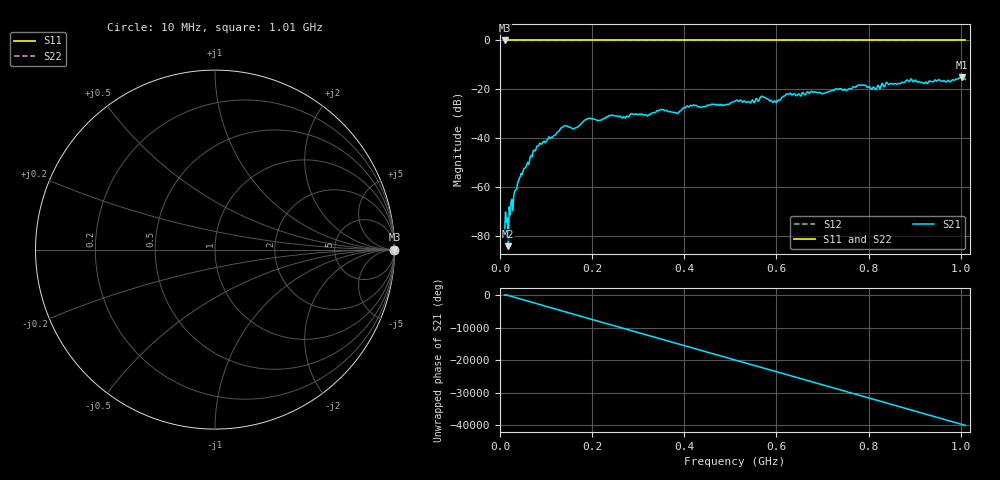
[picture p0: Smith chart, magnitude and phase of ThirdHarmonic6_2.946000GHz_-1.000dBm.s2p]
! 8/17/2025 8:16:19 AM
! C:\ANRITSUVNA\TEMP\TEMP.S2P
! CHANNEL.1
! TR.MEASUREMENT
! RAW.DATA
! RF.CORRECTION.OFF
! AVERAGING.OFF
! IF.BANDWIDTH: 5KHZ
! SWEEPTYPE:  FREQ.SWEEP(Linear)
! Reference Plane Port Info
! PORT:  PORT1  PORT2
! DISTANCE:  0  m  0  m
! TIME:  0  s  0  s
! PHASE.OFFSET:  0  deg.  0  deg.
! LOSS:  0  dB  0  dB
! REF.LOSS:  0  dB  0  dB
! REF.FREQ:  0  Hz  0  Hz
! Power Info
! POWER:  -20  dBm  -20  dBm
! EFF.POWER:  -20  dBm  -20  dBm
! SOURCE.ATTEN:  0  dB  0  dB
! TEST.ATTEN:  0  dB  0  dB
# GHZ S RI R 50.0
! FREQ.GHZ  S11RE  S11IM  S21RE  S21IM  S12RE  S12IM  S22RE  S22IM
!; PortSelection: Port_12
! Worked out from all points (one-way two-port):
!   501 points, 10 MHz to 1.01 GHz, reference 50 ohm
!   highest |S21| = -15.09 dB at 1.002 GHz (marker M1); lowest = -84.3 dB at 18 MHz (marker M2)
!   lowest |S11| = 0.0 dB at 10 MHz (marker M3)
!   |S11| at or under -10 dB: nowhere
!   |S22| runs from 0.0 to 0.0 dB; largest |S21 - S12| = 1.2
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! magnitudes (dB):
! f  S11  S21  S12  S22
! 10 MHz  0.0  -79.1  0.0  0.0
! 18 MHz  0.0  -84.3  0.0  0.0
! 42 MHz  0.0  -56.5  0.0  0.0
! 76 MHz  0.0  -45.4  0.0  0.0
! 136 MHz  0.0  -35.5  0.0  0.0
! 162 MHz  0.0  -36.0  0.0  0.0
! 178 MHz  0.0  -33.7  0.0  0.0
! 192 MHz  0.0  -31.9  0.0  0.0
! 322 MHz  0.0  -30.6  0.0  0.0
! 344 MHz  0.0  -28.8  0.0  0.0
! 384 MHz  0.0  -29.9  0.0  0.0
! 416 MHz  0.0  -26.9  0.0  0.0
! 510 MHz  0.0  -24.9  0.0  0.0
! 548 MHz  0.0  -24.3  0.0  0.0
! 570 MHz  0.0  -22.9  0.0  0.0
! 596 MHz  0.0  -24.7  0.0  0.0
! 626 MHz  0.0  -22.1  0.0  0.0
! 678 MHz  0.0  -21.1  0.0  0.0
! 812 MHz  0.0  -19.3  0.0  0.0
! 844 MHz  0.0  -18.1  0.0  0.0
! 1.002 GHz  0.0  -15.1  0.0  0.0
! 1.01 GHz  0.0  -16.0  0.0  0.0
